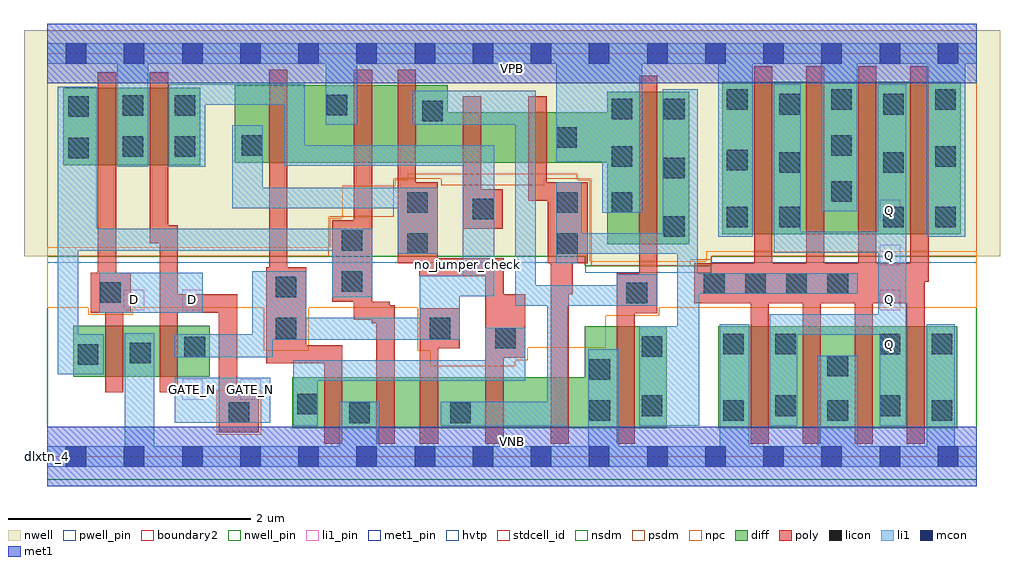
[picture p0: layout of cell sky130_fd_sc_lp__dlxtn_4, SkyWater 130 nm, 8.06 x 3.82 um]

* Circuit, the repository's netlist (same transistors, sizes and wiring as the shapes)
* Copyright 2020 The SkyWater PDK Authors
*
* Licensed under the Apache License, Version 2.0 (the "License");
* you may not use this file except in compliance with the License.
* You may obtain a copy of the License at
*
*     https://www.apache.org/licenses/LICENSE-2.0
*
* Unless required by applicable law or agreed to in writing, software
* distributed under the License is distributed on an "AS IS" BASIS,
* WITHOUT WARRANTIES OR CONDITIONS OF ANY KIND, either express or implied.
* See the License for the specific language governing permissions and
* limitations under the License.
*
* SPDX-License-Identifier: Apache-2.0

.SUBCKT sky130_fd_sc_lp__dlxtn_4 D GATE_N VGND VNB VPB VPWR Q
*.PININFO D:I GATE_N:I VGND:I VNB:I VPB:I VPWR:I Q:O
MI635 clkneg clkpos VPWR VPB sky130_fd_pr__pfet_01v8_hvt m=1 w=0.64U l=0.15U mult=1
+ sa=0.265 sb=0.265 sd=0.28 area=0.063 perim=1.14
MI17 M0 clkneg net51 VPB sky130_fd_pr__pfet_01v8_hvt m=1 w=0.64U l=0.15U mult=1
+ sa=0.265 sb=0.265 sd=0.28 area=0.063 perim=1.14
MI650 Q m1 VPWR VPB sky130_fd_pr__pfet_01v8_hvt m=4 w=1.26U l=0.15U mult=1 sa=0.265
+ sb=0.265 sd=0.28 area=0.063 perim=1.14
MI633 clkpos GATE_N VPWR VPB sky130_fd_pr__pfet_01v8_hvt m=1 w=0.64U l=0.15U mult=1
+ sa=0.265 sb=0.265 sd=0.28 area=0.063 perim=1.14
MI18 net51 db VPWR VPB sky130_fd_pr__pfet_01v8_hvt m=1 w=0.64U l=0.15U mult=1 sa=0.265
+ sb=0.265 sd=0.28 area=0.063 perim=1.14
MI653 net59 m1 VPWR VPB sky130_fd_pr__pfet_01v8_hvt m=1 w=0.42U l=0.15U mult=1
+ sa=0.265 sb=0.265 sd=0.28 area=0.063 perim=1.14
MI651 M0 clkpos net59 VPB sky130_fd_pr__pfet_01v8_hvt m=1 w=0.42U l=0.15U mult=1
+ sa=0.265 sb=0.265 sd=0.28 area=0.063 perim=1.14
MI655 m1 M0 VPWR VPB sky130_fd_pr__pfet_01v8_hvt m=1 w=1.26U l=0.15U mult=1 sa=0.265
+ sb=0.265 sd=0.28 area=0.063 perim=1.14
MI638 db D VPWR VPB sky130_fd_pr__pfet_01v8_hvt m=1 w=0.64U l=0.15U mult=1 sa=0.265
+ sb=0.265 sd=0.28 area=0.063 perim=1.14
MI634 clkpos GATE_N VGND VNB sky130_fd_pr__nfet_01v8 m=1 w=0.42U l=0.15U mult=1
+ sa=0.265 sb=0.265 sd=0.28 area=0.063 perim=1.14
MI649 Q m1 VGND VNB sky130_fd_pr__nfet_01v8 m=4 w=0.84U l=0.15U mult=1 sa=0.265
+ sb=0.265 sd=0.28 area=0.063 perim=1.14
MI652 M0 clkneg net102 VNB sky130_fd_pr__nfet_01v8 m=1 w=0.42U l=0.15U mult=1 sa=0.265
+ sb=0.265 sd=0.28 area=0.063 perim=1.14
MI654 net102 m1 VGND VNB sky130_fd_pr__nfet_01v8 m=1 w=0.42U l=0.15U mult=1 sa=0.265
+ sb=0.265 sd=0.28 area=0.063 perim=1.14
MI656 m1 M0 VGND VNB sky130_fd_pr__nfet_01v8 m=1 w=0.84U l=0.15U mult=1 sa=0.265
+ sb=0.265 sd=0.28 area=0.063 perim=1.14
MI636 clkneg clkpos VGND VNB sky130_fd_pr__nfet_01v8 m=1 w=0.42U l=0.15U mult=1
+ sa=0.265 sb=0.265 sd=0.28 area=0.063 perim=1.14
MI637 db D VGND VNB sky130_fd_pr__nfet_01v8 m=1 w=0.42U l=0.15U mult=1 sa=0.265
+ sb=0.265 sd=0.28 area=0.063 perim=1.14
MI19 M0 clkpos net98 VNB sky130_fd_pr__nfet_01v8 m=1 w=0.42U l=0.15U mult=1 sa=0.265
+ sb=0.265 sd=0.28 area=0.063 perim=1.14
MI20 net98 db VGND VNB sky130_fd_pr__nfet_01v8 m=1 w=0.42U l=0.15U mult=1 sa=0.265
+ sb=0.265 sd=0.28 area=0.063 perim=1.14
.ENDS sky130_fd_sc_lp__dlxtn_4

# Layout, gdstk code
import gdstk
lib = gdstk.Library(unit=1e-6, precision=1e-09)
def R(c, l, rs):  # rectangles x0, y0, x1, y1
    for r in rs: c.add(gdstk.rectangle(r[:2], r[2:], *l))
def A(c, l, x, y, w, h, nx, ny, dx, dy):  # array of equal rectangles
    R(c, l, [(x+i*dx, y+j*dy, x+i*dx+w, y+j*dy+h) for i in range(nx) for j in range(ny)])
def P(c, l, *ps):  # polygons
    for p in ps: c.add(gdstk.Polygon(p, *l))
nwell_pin = (64, 16)
nwell = (64, 20)
diff = (65, 20)
poly = (66, 20)
licon = (66, 44)
li1_pin = (67, 16)
li1 = (67, 20)
mcon = (67, 44)
met1_pin = (68, 16)
met1 = (68, 20)
hvtp = (78, 44)
stdcell_id = (81, 4)
nsdm = (93, 44)
psdm = (94, 20)
npc = (95, 20)
pwell_pin = (122, 16)
boundary2 = (236, 0)

sky130_fd_sc_lp__dlxtn_4 = lib.new_cell('sky130_fd_sc_lp__dlxtn_4')
R(sky130_fd_sc_lp__dlxtn_4, nwell_pin, [(0,3.085,7.68,3.33)])
P(sky130_fd_sc_lp__dlxtn_4, nwell, [(7.87,3.52),(-0.19,3.52),(-0.19,1.655),(4.445,1.655),(4.445,1.575),(5.485,1.575),(5.485,1.655),(7.87,1.655)])
R(sky130_fd_sc_lp__dlxtn_4, diff, [(5.545,0.235,7.515,1.075), (0.215,0.66,1.345,1.08), (5.575,1.835,7.545,3.095), (0.135,2.405,1.265,3.045)])
P(sky130_fd_sc_lp__dlxtn_4, diff, [(5.12,1.075),(4.44,1.075),(4.44,0.655),(2.025,0.655),(2.025,0.235),(5.12,0.235)],
  [(5.305,3.015),(4.625,3.015),(4.625,2.845),(3.31,2.845),(3.31,3.065),(1.55,3.065),(1.55,2.425),(4.625,2.425),(4.625,1.755),(5.305,1.755)])
P(sky130_fd_sc_lp__dlxtn_4, poly, [(0.69,1.52),(0.57,1.52),(0.57,3.175),(0.42,3.175),(0.42,1.52),(0.36,1.52),(0.36,1.19),(0.48,1.19),(0.48,0.53),(0.63,0.53),(0.63,1.19),(0.69,1.19)],
  [(1.75,0.53),(1.57,0.53),(1.57,1.34),(1.08,1.34),(1.08,1.91),(1,1.91),(1,3.175),(0.85,3.175),(0.85,1.76),(0.93,1.76),(0.93,0.53),(1.08,0.53),(1.08,1.19),(1.42,1.19),(1.42,0.2),(1.75,0.2)],
  [(2.44,0.92),(2.14,0.92),(2.14,1.565),(1.985,1.565),(1.985,3.195),(1.835,3.195),(1.835,1.565),(1.81,1.565),(1.81,0.77),(2.29,0.77),(2.29,0.105),(2.44,0.105)],
  [(2.87,1.25),(2.83,1.25),(2.83,1.28),(2.685,1.28),(2.685,3.195),(2.535,3.195),(2.535,1.95),(2.355,1.95),(2.355,1.28),(2.535,1.28),(2.535,1.13),(2.68,1.13),(2.68,1.1),(2.72,1.1),(2.72,0.105),(2.87,0.105)],
  [(3.41,1.225),(3.08,1.225),(3.08,0.105),(3.23,0.105),(3.23,0.895),(3.41,0.895)],
  [(3.765,2.21),(3.585,2.21),(3.585,2.975),(3.435,2.975),(3.435,1.88),(3.765,1.88)],
  [(3.95,1.34),(3.77,1.34),(3.77,1.64),(3.225,1.64),(3.225,2.265),(3.045,2.265),(3.045,3.195),(2.895,3.195),(2.895,1.595),(3.075,1.595),(3.075,1.49),(3.62,1.49),(3.62,0.105),(3.77,0.105),(3.77,0.815),(3.95,0.815)],
  [(4.465,2.265),(4.125,2.265),(4.125,2.975),(3.975,2.975),(3.975,2.115),(4.135,2.115),(4.135,1.595),(4.16,1.595),(4.16,0.105),(4.31,0.105),(4.31,1.34),(4.34,1.34),(4.34,1.595),(4.465,1.595)],
  [(5.04,3.145),(4.89,3.145),(4.89,1.515),(4.705,1.515),(4.705,0.105),(4.855,0.105),(4.855,1.185),(5.04,1.185)],
  [(7.28,3.225),(7.13,3.225),(7.13,1.595),(6.85,1.595),(6.85,3.225),(6.7,3.225),(6.7,1.595),(6.42,1.595),(6.42,3.225),(6.27,3.225),(6.27,1.595),(5.99,1.595),(5.99,3.225),(5.84,3.225),(5.84,1.595),(5.345,1.595),(5.345,1.265),(5.81,1.265),(5.81,0.105),(5.96,0.105),(5.96,1.265),(6.24,1.265),(6.24,0.105),(6.39,0.105),(6.39,1.265),(6.67,1.265),(6.67,0.105),(6.82,0.105),(6.82,1.265),(7.1,1.265),(7.1,0.105),(7.25,0.105),(7.25,1.445),(7.28,1.445)])
A(sky130_fd_sc_lp__dlxtn_4, licon, 5.585, 0.295, 0.17, 0.17, 3, 1, 0.86, 0)
A(sky130_fd_sc_lp__dlxtn_4, licon, 5.425, 1.345, 0.17, 0.17, 4, 1, 0.34, 0)
A(sky130_fd_sc_lp__dlxtn_4, licon, 5.095, 1.815, 0.17, 0.17, 1, 3, 0, 0.485)
A(sky130_fd_sc_lp__dlxtn_4, licon, 5.615, 2.865, 0.17, 0.17, 3, 1, 0.86, 0)
R(sky130_fd_sc_lp__dlxtn_4, licon, [(2.495,0.275,2.665,0.445), (3.33,0.275,3.5,0.445), (1.5,0.28,1.67,0.45), (4.48,0.295,4.65,0.465), (4.91,0.335,5.08,0.505), (6.015,0.335,6.185,0.505), (6.875,0.335,7.045,0.505), (2.065,0.35,2.235,0.52), (4.48,0.635,4.65,0.805), (6.445,0.665,6.615,0.835), (0.255,0.76,0.425,0.93), (0.685,0.77,0.855,0.94), (1.135,0.82,1.305,0.99), (4.91,0.825,5.08,0.995), (5.585,0.845,5.755,1.015), (6.015,0.845,6.185,1.015), (6.875,0.845,7.045,1.015), (7.305,0.845,7.475,1.015), (3.7,0.895,3.87,1.065), (1.89,0.975,2.06,1.145), (3.16,0.975,3.33,1.145), (4.785,1.265,4.955,1.435), (0.44,1.27,0.61,1.44), (1.89,1.315,2.06,1.485), (2.435,1.36,2.605,1.53), (2.975,1.675,3.145,1.845), (4.215,1.675,4.385,1.845), (2.435,1.7,2.605,1.87), (5.615,1.895,5.785,2.065), (6.045,1.895,6.215,2.065), (6.905,1.895,7.075,2.065), (7.335,1.895,7.505,2.065), (3.515,1.96,3.685,2.13), (2.975,2.015,3.145,2.185), (4.215,2.015,4.385,2.185), (4.665,2.015,4.835,2.185), (6.475,2.105,6.645,2.275), (6.045,2.345,6.215,2.515), (6.905,2.345,7.075,2.515), (5.615,2.365,5.785,2.535), (4.665,2.395,4.835,2.565), (7.335,2.395,7.505,2.565), (0.175,2.465,0.345,2.635), (0.625,2.475,0.795,2.645), (1.055,2.475,1.225,2.645), (1.61,2.485,1.78,2.655), (6.475,2.485,6.645,2.655), (4.205,2.55,4.375,2.72), (3.1,2.77,3.27,2.94), (4.665,2.785,4.835,2.955), (0.175,2.805,0.345,2.975), (0.625,2.815,0.795,2.985), (1.055,2.815,1.225,2.985), (2.31,2.82,2.48,2.99), (6.045,2.825,6.215,2.995), (6.905,2.825,7.075,2.995)])
A(sky130_fd_sc_lp__dlxtn_4, li1_pin, 6.875, 0.84, 0.17, 0.17, 1, 4, 0, 0.37)
R(sky130_fd_sc_lp__dlxtn_4, li1_pin, [(1.115,0.47,1.285,0.64), (1.595,0.47,1.765,0.64), (0.635,1.21,0.805,1.38), (1.115,1.21,1.285,1.38)])
R(sky130_fd_sc_lp__dlxtn_4, li1, [(1.055,0.28,1.845,0.65), (0.43,1.19,1.285,1.52)])
P(sky130_fd_sc_lp__dlxtn_4, li1, [(7.68,3.415),(0,3.415),(0,3.245),(0.58,3.245),(0.58,2.395),(0.835,2.395),(0.835,3.245),(2.3,3.245),(2.3,2.74),(2.56,2.74),(2.56,3.245),(4.205,3.245),(4.205,2.435),(4.585,2.435),(4.585,2.015),(4.915,2.015),(4.915,3.245),(5.545,3.245),(5.545,1.815),(5.83,1.815),(5.83,3.245),(6.395,3.245),(6.395,2.025),(6.69,2.025),(6.69,3.245),(7.265,3.245),(7.265,1.815),(7.585,1.815),(7.585,3.245),(7.68,3.245)],
  [(5.555,0.085),(5.555,1.095),(5.8,1.095),(5.8,0.085),(6.365,0.085),(6.365,0.835),(6.695,0.835),(6.695,0.085),(7.265,0.085),(7.265,1.095),(7.495,1.095),(7.495,0.085),(7.68,0.085),(7.68,-0.085),(0,-0.085),(0,0.085),(0.64,0.085),(0.64,1.02),(0.885,1.02),(0.885,0.085),(2.415,0.085),(2.415,0.455),(2.745,0.455),(2.745,0.085),(4.47,0.085),(4.47,0.885),(4.72,0.885),(4.72,0.085)],
  [(0.41,1.88),(2.685,1.88),(2.685,1.315),(2.355,1.315),(2.355,1.7),(0.26,1.7),(0.26,1.01),(0.47,1.01),(0.47,0.68),(0.09,0.68),(0.09,3.055),(0.41,3.055)],
  [(4.415,1.845),(5.085,1.845),(5.085,3.035),(5.375,3.035),(5.375,1.515),(6.695,1.515),(6.695,1.345),(5.385,1.345),(5.385,0.255),(4.89,0.255),(4.89,1.075),(5.205,1.075),(5.205,1.675),(4.385,1.675),(4.385,1.595),(4.205,1.595),(4.205,2.265),(4.415,2.265)],
  [(4.035,1.415),(4.705,1.415),(4.705,1.505),(5.035,1.505),(5.035,1.245),(4.3,1.245),(4.3,0.255),(3.25,0.255),(3.25,0.455),(4.13,0.455),(4.13,1.245),(3.865,1.245),(3.865,2.74),(3.02,2.74),(3.02,3.02),(4.035,3.02)],
  [(1.96,2.4),(1.96,2.905),(1.305,2.905),(1.305,2.395),(1.005,2.395),(1.005,3.075),(2.13,3.075),(2.13,2.57),(3.695,2.57),(3.695,1.325),(3.41,1.325),(3.41,0.965),(1.865,0.965),(1.865,0.82),(1.055,0.82),(1.055,1.01),(1.695,1.01),(1.695,1.53),(2.14,1.53),(2.14,1.145),(3.08,1.145),(3.08,1.495),(3.435,1.495),(3.435,2.4)],
  [(1.53,2.735),(1.78,2.735),(1.78,2.22),(3.225,2.22),(3.225,1.675),(2.895,1.675),(2.895,2.05),(1.53,2.05)],
  [(3.95,0.625),(2.235,0.625),(2.235,0.255),(2.035,0.255),(2.035,0.795),(3.62,0.795),(3.62,1.065),(3.95,1.065)],
  [(6.225,1.855),(6.86,1.855),(6.86,3.075),(7.095,3.075),(7.095,0.255),(6.875,0.255),(6.875,1.005),(6.195,1.005),(6.195,0.255),(5.97,0.255),(5.97,1.175),(6.865,1.175),(6.865,1.685),(6,1.685),(6,3.075),(6.225,3.075)])
A(sky130_fd_sc_lp__dlxtn_4, mcon, 0.155, -0.085, 0.17, 0.17, 16, 2, 0.48, 3.33)
R(sky130_fd_sc_lp__dlxtn_4, met1_pin, [(0,0,7.68,0.245), (0,3.085,7.68,3.33)])
R(sky130_fd_sc_lp__dlxtn_4, met1, [(0,-0.245,7.68,0.245), (0,3.085,7.68,3.575)])
P(sky130_fd_sc_lp__dlxtn_4, hvtp, [(7.68,3.33),(0,3.33),(0,1.6),(4.445,1.6),(4.445,1.52),(5.485,1.52),(5.485,1.6),(7.68,1.6)])
R(sky130_fd_sc_lp__dlxtn_4, stdcell_id, [(0,0,7.68,3.33)])
P(sky130_fd_sc_lp__dlxtn_4, nsdm, [(7.68,1.655),(5.485,1.655),(5.485,1.575),(4.445,1.575),(4.445,1.655),(0,1.655),(0,-0.19),(7.68,-0.19)])
P(sky130_fd_sc_lp__dlxtn_4, psdm, [(7.68,3.52),(0,3.52),(0,1.655),(2.325,1.655),(2.325,1.98),(2.865,1.98),(2.865,2.295),(3.255,2.295),(3.255,2.24),(4.105,2.24),(4.105,2.295),(4.495,2.295),(4.495,1.575),(5.315,1.575),(5.315,1.625),(5.485,1.625),(5.485,1.655),(7.68,1.655)])
R(sky130_fd_sc_lp__dlxtn_4, npc, [(1.4,0.18,1.77,0.55)])
P(sky130_fd_sc_lp__dlxtn_4, npc, [(7.68,1.695),(5.445,1.695),(5.445,1.615),(4.485,1.615),(4.485,2.285),(4.38,2.285),(4.38,2.335),(2.98,2.335),(2.98,2.285),(2.875,2.285),(2.875,2.235),(2.44,2.235),(2.44,1.97),(2.335,1.97),(2.335,1.73),(0,1.73),(0,1.23),(0.34,1.23),(0.34,1.17),(0.71,1.17),(0.71,1.23),(1.79,1.23),(1.79,0.875),(2.16,0.875),(2.16,1.23),(3.06,1.23),(3.06,0.875),(3.165,0.875),(3.165,0.745),(3.865,0.745),(3.865,0.795),(3.97,0.795),(3.97,0.9),(4.615,0.9),(4.615,1.165),(5.055,1.165),(5.055,1.23),(7.68,1.23)])
R(sky130_fd_sc_lp__dlxtn_4, pwell_pin, [(0,0,7.68,0.245)])
R(sky130_fd_sc_lp__dlxtn_4, boundary2, [(0,0,7.68,3.33)])
sky130_fd_sc_lp__dlxtn_4.add(gdstk.Label('VNB', (3.84,0.123), layer=64, texttype=59))
sky130_fd_sc_lp__dlxtn_4.add(gdstk.Label('VPB', (3.84,3.208), layer=64, texttype=5))
sky130_fd_sc_lp__dlxtn_4.add(gdstk.Label('dlxtn_4', (0,0), layer=83, texttype=44))
sky130_fd_sc_lp__dlxtn_4.add(gdstk.Label('no_jumper_check', (3.475,1.585), layer=83, texttype=44))
sky130_fd_sc_lp__dlxtn_4.add(gdstk.Label('VPWR', (3.84,3.208), layer=68, texttype=5))
sky130_fd_sc_lp__dlxtn_4.add(gdstk.Label('VGND', (3.84,0.123), layer=68, texttype=5))
sky130_fd_sc_lp__dlxtn_4.add(gdstk.Label('D', (0.72,1.295), layer=67, texttype=5))
sky130_fd_sc_lp__dlxtn_4.add(gdstk.Label('D', (1.2,1.295), layer=67, texttype=5))
sky130_fd_sc_lp__dlxtn_4.add(gdstk.Label('Q', (6.96,0.925), layer=67, texttype=5))
sky130_fd_sc_lp__dlxtn_4.add(gdstk.Label('Q', (6.96,1.295), layer=67, texttype=5))
sky130_fd_sc_lp__dlxtn_4.add(gdstk.Label('Q', (6.96,1.665), layer=67, texttype=5))
sky130_fd_sc_lp__dlxtn_4.add(gdstk.Label('Q', (6.96,2.035), layer=67, texttype=5))
sky130_fd_sc_lp__dlxtn_4.add(gdstk.Label('GATE_N', (1.2,0.555), layer=67, texttype=5))
sky130_fd_sc_lp__dlxtn_4.add(gdstk.Label('GATE_N', (1.68,0.555), layer=67, texttype=5))

lib.write_gds('sky130_fd_sc_lp__dlxtn_4.gds')
